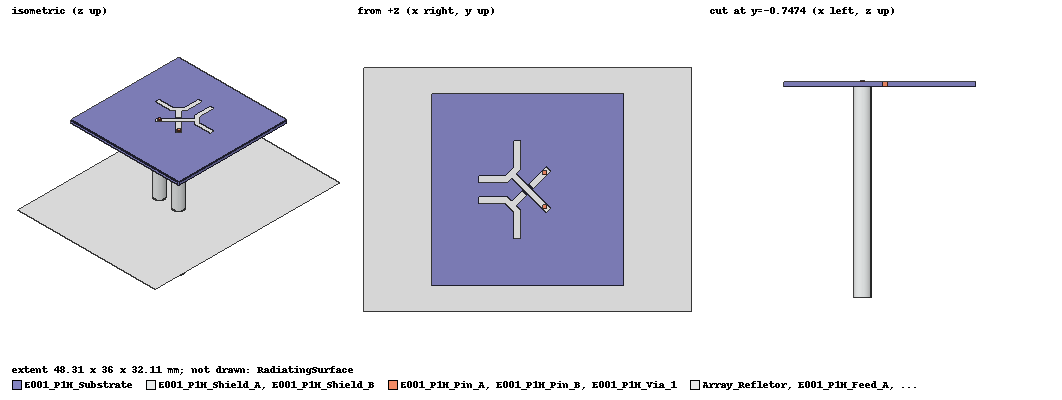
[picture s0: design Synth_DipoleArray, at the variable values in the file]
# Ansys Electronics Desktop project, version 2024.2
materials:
  vacuum: permittivity=1
  P1H_RO4350B_DesignDk: permittivity=3.66 permeability=1 dielectric_loss_tangent=0.0037
  copper: permeability=0.999991 conductivity=58000000
  aluminum: permeability=1.000021 conductivity=38000000

design Synth_DipoleArray (HFSS, HFSS Modal Network, model units mm)
options: open_region{BoundaryType=0 OpFreq=5.17GHz}
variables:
  array_reflector_z = 0mm
  array_reflector_width = 48.3125mm
  array_reflector_height = 36mm
  array_pcb_thickness = 0.76mm
  array_model_count = 1
  array_has_B1 = 0
  array_has_R1 = 0
  array_has_Y1 = 0
  array_has_P1 = 0
  array_has_P1H = 1
  array_P1H_reflector_spacing = 16.61mm
  array_P1H_element_z = array_P1H_reflector_spacing
  array_P1H_reference_frequency = 5170MHz
  array_P1H_band_start = 5090MHz
  array_P1H_band_stop = 5250MHz
  array_P1H_xy_scale = 0.755
  array_P1H_pcb_thickness = 0.76mm
  array_P1H_geometry_revision = 1
  array_P1H_ring_opening_scale = 1
  array_P1H_polarization_scale_A = 1.0124
  array_P1H_polarization_scale_B = 1.0007
  array_reflector_spacing = array_P1H_reflector_spacing
  array_element_plane_z = array_P1H_element_z
  E001_element_z = array_P1H_element_z
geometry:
  E001_P1H_Substrate [P1H_RO4350B_DesignDk] = box(corner=(-14.15625mm, -14.15625mm, 16.61mm), size=(28.3125mm, 28.3125mm, 0.76mm))
  E001_P1H_Ring_Q1 = polyline(z=16.61mm, xy in mm: (0.264434975, 2.4067617) (0.264434975, 8.6519924) (4.8615779, 13.249135) (8.3875574, 13.249135) (13.249135, 8.3875574) (13.249135, 4.8615779) (8.6519924, 0.264434975) (2.4067617, 0.264434975) (0.264434975, 2.4067617), closed, covered)
  E001_P1H_Ring_Q1_opening = polyline(z=16.61mm, xy in mm: (2.4307889, 5.0485616) (5.0485616, 2.4307889) (9.1087805, 2.4307889) (11.966961, 5.2889693) (11.966961, 7.960166) (7.960166, 11.966961) (5.2889693, 11.966961) (2.4307889, 9.1087805) (2.4307889, 5.0485616), closed, covered)
  E001_P1H_Ring_Q1.subtract(E001_P1H_Ring_Q1_opening)
  E001_P1H_Ring_Q1_coax_B = circle(normal=Z, centre=(2.5091684mm, 2.5091684mm, 16.61mm), radius=1.2704335mm)
  E001_P1H_Ring_Q1.subtract(E001_P1H_Ring_Q1_coax_B)
  E001_P1H_Ring_Q2 = polyline(z=16.61mm, xy in mm: (-0.2675267, 2.4349011) (-0.2675267, 8.7531499) (-4.9184185, 13.404042) (-8.4856232, 13.404042) (-13.404042, 8.4856232) (-13.404042, 4.9184185) (-8.7531499, 0.2675267) (-2.4349011, 0.2675267) (-0.2675267, 2.4349011), closed, covered)
  E001_P1H_Ring_Q2_opening = polyline(z=16.61mm, xy in mm: (-2.4592093, 5.1075885) (-5.1075885, 2.4592093) (-9.2152787, 2.4592093) (-12.106876, 5.350807) (-12.106876, 8.0532347) (-8.0532347, 12.106876) (-5.350807, 12.106876) (-2.4592093, 9.2152787) (-2.4592093, 5.1075885), closed, covered)
  E001_P1H_Ring_Q2.subtract(E001_P1H_Ring_Q2_opening)
  E001_P1H_Ring_Q3 = polyline(z=16.61mm, xy in mm: (-0.264434975, -2.4067617) (-0.264434975, -8.6519924) (-4.8615779, -13.249135) (-8.3875574, -13.249135) (-13.249135, -8.3875574) (-13.249135, -4.8615779) (-8.6519924, -0.264434975) (-2.4067617, -0.264434975) (-0.264434975, -2.4067617), closed, covered)
  E001_P1H_Ring_Q3_opening = polyline(z=16.61mm, xy in mm: (-2.4307889, -5.0485616) (-5.0485616, -2.4307889) (-9.1087805, -2.4307889) (-11.966961, -5.2889693) (-11.966961, -7.960166) (-7.960166, -11.966961) (-5.2889693, -11.966961) (-2.4307889, -9.1087805) (-2.4307889, -5.0485616), closed, covered)
  E001_P1H_Ring_Q3.subtract(E001_P1H_Ring_Q3_opening)
  E001_P1H_Ring_Q4 = polyline(z=16.61mm, xy in mm: (0.2675267, -2.4349011) (0.2675267, -8.7531499) (4.9184185, -13.404042) (8.4856232, -13.404042) (13.404042, -8.4856232) (13.404042, -4.9184185) (8.7531499, -0.2675267) (2.4349011, -0.2675267) (0.2675267, -2.4349011), closed, covered)
  E001_P1H_Ring_Q4_opening = polyline(z=16.61mm, xy in mm: (2.4592093, -5.1075885) (5.1075885, -2.4592093) (9.2152787, -2.4592093) (12.106876, -5.350807) (12.106876, -8.0532347) (8.0532347, -12.106876) (5.350807, -12.106876) (2.4592093, -9.2152787) (2.4592093, -5.1075885), closed, covered)
  E001_P1H_Ring_Q4.subtract(E001_P1H_Ring_Q4_opening)
  E001_P1H_Ring_Q4_coax_A = circle(normal=Z, centre=(2.5091684mm, -2.5091684mm, 16.61mm), radius=1.2704335mm)
  E001_P1H_Ring_Q4.subtract(E001_P1H_Ring_Q4_coax_A)
  E001_P1H_Feed_A = polyline(z=17.37mm, xy in mm: (-7.1688408, 1.041038) (-3.0163408, 1.041038) (-2.375702, 1.6816767) (2.6960214, -3.3900467) (3.3900467, -2.6960214) (-1.6816767, 2.375702) (-1.041038, 3.0163408) (-1.041038, 7.1688408) (-2.022538, 7.1688408) (-2.022538, 3.4228914) (-3.4228914, 2.022538) (-7.1688408, 2.022538) (-7.1688408, 1.041038), closed, covered)
  E001_P1H_Feed_B_Outer = polyline(z=17.37mm, xy in mm: (-7.1688408, -2.022538) (-7.1688408, -1.041038) (-3.0163408, -1.041038) (-2.375702, -1.6816767) (-0.82749171, -0.1334664) (-0.1334664, -0.82749171) (-1.6816767, -2.375702) (-1.041038, -3.0163408) (-1.041038, -7.1688408) (-2.022538, -7.1688408) (-2.022538, -3.4228914) (-3.4228914, -2.022538) (-7.1688408, -2.022538), closed, covered)
  E001_P1H_Feed_B_Inner = polyline(z=17.37mm, xy in mm: (0.1334664, 0.82749171) (0.82749171, 0.1334664) (3.3900467, 2.6960214) (2.6960214, 3.3900467) (0.1334664, 0.82749171), closed, covered)
  E001_P1H_Feed_A_pin_hole = circle(normal=Z, centre=(2.5091684mm, -2.5091684mm, 17.37mm), radius=0.362981mm)
  E001_P1H_Feed_A.subtract(E001_P1H_Feed_A_pin_hole)
  E001_P1H_Feed_B_pin_hole = circle(normal=Z, centre=(2.5091684mm, 2.5091684mm, 17.37mm), radius=0.362981mm)
  E001_P1H_Feed_B_Inner.subtract(E001_P1H_Feed_B_pin_hole)
  E001_P1H_Crossover_Bridge = polyline(z=16.61mm, xy in mm: (-1.3613573, -0.66733202) (0.66733202, 1.3613573) (1.3613573, 0.66733202) (-0.66733202, -1.3613573) (-1.3613573, -0.66733202), closed, covered)
  E001_P1H_Via_1 [copper] = cylinder(axis=Z, base_centre=(-0.74741187mm, -0.74741187mm, 16.61mm), radius=0.362981mm, height=0.76mm)
  E001_P1H_Via_2 [copper] = cylinder(axis=Z, base_centre=(0.74741187mm, 0.74741187mm, 16.61mm), radius=0.362981mm, height=0.76mm)
  E001_P1H_Via_1_1 = E001_P1H_Via_1.copy()
  E001_P1H_Via_2_1 = E001_P1H_Via_2.copy()
  E001_P1H_Substrate.subtract(E001_P1H_Via_1_1, E001_P1H_Via_2_1)
  E001_P1H_Pin_A [copper] = cylinder(axis=Z, base_centre=(2.5091684mm, -2.5091684mm, -14.51924mm), radius=0.362981mm, height=32.1070286mm)
  E001_P1H_Shield_A [aluminum] = cylinder(axis=Z, base_centre=(2.5091684mm, -2.5091684mm, -14.51924mm), radius=1.2704335mm, height=31.12924mm)
  E001_P1H_Shield_A_Inner = cylinder(axis=Z, base_centre=(2.5091684mm, -2.5091684mm, -14.5555381mm), radius=0.8348563mm, height=31.2018362mm)
  E001_P1H_Shield_A.subtract(E001_P1H_Shield_A_Inner)
  E001_P1H_Port_A_Face = circle(normal=Z, centre=(2.5091684mm, -2.5091684mm, -14.51924mm), radius=0.8348563mm)
  E001_P1H_Pin_B [copper] = cylinder(axis=Z, base_centre=(2.5091684mm, 2.5091684mm, -14.51924mm), radius=0.362981mm, height=32.1070286mm)
  E001_P1H_Shield_B [aluminum] = cylinder(axis=Z, base_centre=(2.5091684mm, 2.5091684mm, -14.51924mm), radius=1.2704335mm, height=31.12924mm)
  E001_P1H_Shield_B_Inner = cylinder(axis=Z, base_centre=(2.5091684mm, 2.5091684mm, -14.5555381mm), radius=0.8348563mm, height=31.2018362mm)
  E001_P1H_Shield_B.subtract(E001_P1H_Shield_B_Inner)
  E001_P1H_Port_B_Face = circle(normal=Z, centre=(2.5091684mm, 2.5091684mm, -14.51924mm), radius=0.8348563mm)
  E001_P1H_Pin_A_1 = E001_P1H_Pin_A.copy()
  E001_P1H_Pin_B_1 = E001_P1H_Pin_B.copy()
  E001_P1H_Substrate.subtract(E001_P1H_Pin_A_1, E001_P1H_Pin_B_1)
  Array_Refletor = rectangle(corner=(-array_reflector_width/2, -array_reflector_height/2, array_reflector_z), x_size=array_reflector_width, y_size=array_reflector_height)
  Reflector_Hole_E001_P1H_A = circle(normal=Z, centre=(2.5091684mm, -2.5091684mm, 0mm), radius=1.3067316mm)
  Reflector_Hole_E001_P1H_B = circle(normal=Z, centre=(2.5091684mm, 2.5091684mm, 0mm), radius=1.3067316mm)
  Array_Refletor.subtract(Reflector_Hole_E001_P1H_A, Reflector_Hole_E001_P1H_B)
  RadiatingSurface [vacuum] = region(absolute_offset=19.34236mm on all sides)
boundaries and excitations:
  E001_P1H_Copper_Traces: Finite Conductivity Objects=[E001_P1H_Ring_Q1..E001_P1H_Ring_Q4, E001_P1H_Feed_A, E001_P1H_Feed_B_Outer, E001_P1H_Feed_B_Inner, E001_P1H_Crossover_Bridge] UseMaterial Material=copper IsInternal
  PerfectE_Array_Refletor: Perfect E Objects=Array_Refletor
  AutoOpen1: Radiation Objects=RadiatingSurface
  E016_PA: Lumped Port Objects=E001_P1H_Port_A_Face LumpedPortType=Modal Modes{Mode1{IntLine{(2.8721494, -2.5091684, -14.51924) -> (3.3440247, -2.5091684, -14.51924)} CharImp=Zpi RenormImp=50ohm}} Impedance=50ohm
  E016_PB: Lumped Port Objects=E001_P1H_Port_B_Face LumpedPortType=Modal Modes{Mode1{IntLine{(2.8721494, 2.5091684, -14.51924) -> (3.3440247, 2.5091684, -14.51924)} CharImp=Zpi RenormImp=50ohm}} Impedance=50ohm
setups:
  Setup_Multiband: HfssDriven MultipleAdaptiveFreqsSetup{AdaptAt{Frequency=5090MHz Delta=0.02} AdaptAt{Frequency=5170MHz Delta=0.02} AdaptAt{Frequency=5250MHz Delta=0.02}} MaximumPasses=6 MinimumPasses=1 MinimumConvergedPasses=1 PercentRefinement=30 BasisOrder=1 PortAccuracy=2 DrivenSolverType="Direct Solver"
    sweep Sweep_P1_High: 5090MHz to 5250MHz, 251 points; Type=Interpolating InterpTolerance=0.5 InterpMaxSolns=50 InterpUsePortImped=false PassivityErrorTolerance=0.0001
    sweep AB_Campo20MHz: 5090MHz to 5250MHz step 20MHz; Type=Discrete SaveFields SaveRadFields
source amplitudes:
  E016_PA:1, E016_PB:1: 0.5W 0deg
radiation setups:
  3D: Infinite Sphere Theta=0deg..180deg step 2deg Phi=-180deg..180deg step 2deg
  Elevation: Infinite Sphere Theta=-180deg..180deg step 1deg Phi=0deg..90deg step 90deg
  Azimuth: Infinite Sphere Theta=90deg..90deg step 0deg Phi=-180deg..180deg step 1deg
  AB_Eixos: Infinite Sphere Theta=-180deg..180deg step 0.25deg Phi=0deg..90deg step 90deg
  antenna array: CustomArray NumCells=8 Cell{Cell_1{XCoord=-184.1mm YCoord=0mm ZCoord=0mm Amplitude=1 Phase=0deg} Cell_2{XCoord=-131.5mm YCoord=0mm ZCoord=0mm Amplitude=1 Phase=0deg} Cell_3{XCoord=-78.9mm YCoord=0mm ZCoord=0mm Amplitude=1 Phase=0deg} Cell_4{XCoord=-26.3mm YCoord=0mm ZCoord=0mm Amplitude=1 Phase=0deg} Cell_5{XCoord=26.3mm YCoord=0mm ZCoord=0mm Amplitude=1 Phase=0deg} Cell_6{XCoord=78.9mm YCoord=0mm ZCoord=0mm Amplitude=1 Phase=0deg} Cell_7{XCoord=131.5mm YCoord=0mm ZCoord=0mm Amplitude=1 Phase=0deg} Cell_8{XCoord=184.1mm YCoord=0mm ZCoord=0mm Amplitude=1 Phase=0deg}}
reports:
  painel_AB_H_5090: dB(RealizedGainTotal) vs Theta on Setup_Multiband : AB_Campo20MHz, AB_Eixos [Phi=90deg Freq=5090MHz]
  painel_AB_V_5090: dB(RealizedGainTotal) vs Theta on Setup_Multiband : AB_Campo20MHz, AB_Eixos [Phi=0deg Freq=5090MHz]
  painel_AB_H_5110: dB(RealizedGainTotal) vs Theta on Setup_Multiband : AB_Campo20MHz, AB_Eixos [Phi=90deg Freq=5110MHz]
  painel_AB_V_5110: dB(RealizedGainTotal) vs Theta on Setup_Multiband : AB_Campo20MHz, AB_Eixos [Phi=0deg Freq=5110MHz]
  painel_AB_H_5130: dB(RealizedGainTotal) vs Theta on Setup_Multiband : AB_Campo20MHz, AB_Eixos [Phi=90deg Freq=5130MHz]
  painel_AB_V_5130: dB(RealizedGainTotal) vs Theta on Setup_Multiband : AB_Campo20MHz, AB_Eixos [Phi=0deg Freq=5130MHz]
  painel_AB_H_5150: dB(RealizedGainTotal) vs Theta on Setup_Multiband : AB_Campo20MHz, AB_Eixos [Phi=90deg Freq=5150MHz]
  painel_AB_V_5150: dB(RealizedGainTotal) vs Theta on Setup_Multiband : AB_Campo20MHz, AB_Eixos [Phi=0deg Freq=5150MHz]
  painel_AB_H_5170: dB(RealizedGainTotal) vs Theta on Setup_Multiband : AB_Campo20MHz, AB_Eixos [Phi=90deg Freq=5170MHz]
  painel_AB_V_5170: dB(RealizedGainTotal) vs Theta on Setup_Multiband : AB_Campo20MHz, AB_Eixos [Phi=0deg Freq=5170MHz]
  painel_AB_H_5190: dB(RealizedGainTotal) vs Theta on Setup_Multiband : AB_Campo20MHz, AB_Eixos [Phi=90deg Freq=5190MHz]
  painel_AB_V_5190: dB(RealizedGainTotal) vs Theta on Setup_Multiband : AB_Campo20MHz, AB_Eixos [Phi=0deg Freq=5190MHz]
  painel_AB_H_5210: dB(RealizedGainTotal) vs Theta on Setup_Multiband : AB_Campo20MHz, AB_Eixos [Phi=90deg Freq=5210MHz]
  painel_AB_V_5210: dB(RealizedGainTotal) vs Theta on Setup_Multiband : AB_Campo20MHz, AB_Eixos [Phi=0deg Freq=5210MHz]
  painel_AB_H_5230: dB(RealizedGainTotal) vs Theta on Setup_Multiband : AB_Campo20MHz, AB_Eixos [Phi=90deg Freq=5230MHz]
  painel_AB_V_5230: dB(RealizedGainTotal) vs Theta on Setup_Multiband : AB_Campo20MHz, AB_Eixos [Phi=0deg Freq=5230MHz]
  painel_AB_H_5250: dB(RealizedGainTotal) vs Theta on Setup_Multiband : AB_Campo20MHz, AB_Eixos [Phi=90deg Freq=5250MHz]
  painel_AB_V_5250: dB(RealizedGainTotal) vs Theta on Setup_Multiband : AB_Campo20MHz, AB_Eixos [Phi=0deg Freq=5250MHz]
  AB_reflexao_ativa_elemento: dB(S(E016_PA,E016_PA)+S(E016_PA,E016_PB)), dB(S(E016_PB,E016_PB)+S(E016_PB,E016_PA)) vs Freq on Setup_Multiband : Sweep_P1_High
